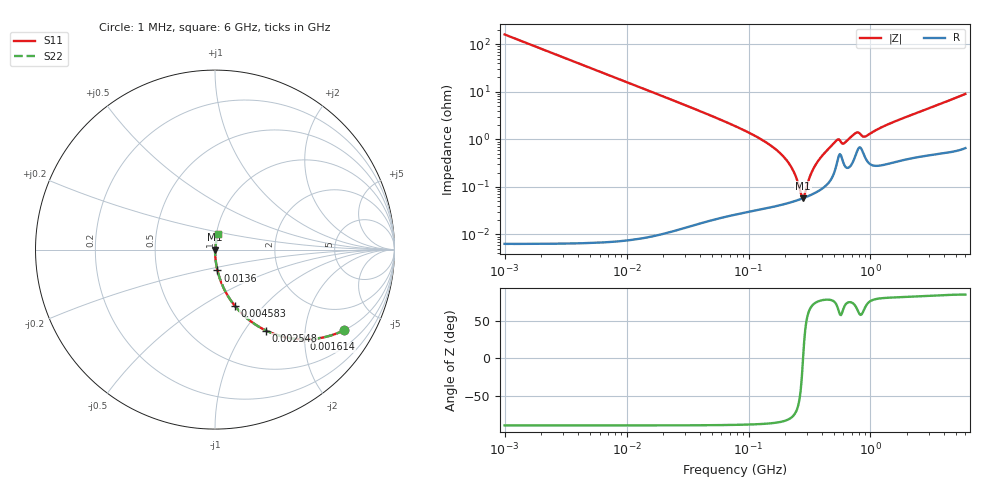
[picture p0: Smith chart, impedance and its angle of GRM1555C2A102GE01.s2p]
!Murata Part Number: GRM1555C2A102GE01
!These Parameters are Measured in Series Mode Connection
!Data Generated on Mar 30, 2021
!  o--ll--o
!Port1  Port2
!  o------o
!Operation Temp=25[degC], DC Bias Voltage=0[V]
!Freq. Start=1000[kHz] Stop=6[GHz] 401[Steps]
# Hz S RI R 50
!Freq.(Hz) S11(Real) S11(Imag) S21(Real) S21(Imag) S12(Real) S12(Imag) S22(Real) S22(Imag)
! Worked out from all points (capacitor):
!   401 points, 1 MHz to 6 GHz, reference 50 ohm
!   read as one part in series: C = 992 pF near 1.044 MHz
!   lowest |Z| = 57.6 mohm at 279.5 MHz (marker M1)
!   series resonance near 279.9 MHz, so ESL is about 330 pH
!   S11 on the Smith chart (normalised r, x): 1 MHz: 1.00, -3.21; 1.614 MHz: 1.00, -1.99; 2.548 MHz: 1.00, -1.26; 4.583 MHz: 1.00, -0.70; 13.6 MHz: 1.00, -0.24; 6 GHz: 1.01, +0.18
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1000000  0.7201 -0.4489  0.2799 0.4489  0.2799 0.4489  0.7201 -0.4489
1613609  0.497 -0.5  0.503 0.5  0.503 0.5  0.497 -0.5
2547717  0.2838 -0.4508  0.7162 0.4508  0.7162 0.4508  0.2838 -0.4508
4293785  0.1224 -0.3277  0.8776 0.3277  0.8776 0.3277  0.1224 -0.3277
4583281  0.1091 -0.3117  0.8909 0.3117  0.8909 0.3117  0.1091 -0.3117
1.359707e7  0.0137 -0.116  0.9863 0.116  0.9863 0.116  0.0137 -0.116
1.843659e7  0.00753 -0.0859  0.9925 0.0859  0.9925 0.0859  0.00753 -0.0859
7.745967e7  0.000622 -0.019  0.9994 0.019  0.9994 0.019  0.000622 -0.019
1.334167e8  0.000431 -0.00924  0.9996 0.00924  0.9996 0.00924  0.000431 -0.00924
1.889453e8  0.000444 -0.00461  0.9996 0.00461  0.9996 0.00461  0.000444 -0.00461
2.297971e8  0.000491 -0.00228  0.9995 0.00228  0.9995 0.00228  0.000491 -0.00228
2.675853e8  0.000553 -0.000517  0.9994 0.000517  0.9994 0.000517  0.000553 -0.000517
2.794814e8  0.000576 -1.6e-05  0.9994 1.6e-05  0.9994 1.6e-05  0.000576 -1.6e-05
2.919064e8  0.000602 0.000487  0.9994 -0.000487  0.9994 -0.000487  0.000602 0.000487
3.325952e8  0.0007 0.00202  0.9993 -0.00202  0.9993 -0.00202  0.0007 0.00202
3.872876e8  0.000878 0.00393  0.9991 -0.00393  0.9991 -0.00393  0.000878 0.00393
5.251325e8  0.00291 0.00894  0.9971 -0.00894  0.9971 -0.00894  0.00291 0.00894
6.11486e8  0.0029 0.00781  0.9971 -0.00781  0.9971 -0.00781  0.0029 0.00781
7.767579e8  0.00575 0.0126  0.9943 -0.0126  0.9943 -0.0126  0.00575 0.0126
9.044891e8  0.00424 0.0106  0.9958 -0.0106  0.9958 -0.0106  0.00424 0.0106
1.428092e9  0.00352 0.0209  0.9965 -0.0209  0.9965 -0.0209  0.00352 0.0209
6e9  0.0144 0.0881  0.9856 -0.0881  0.9856 -0.0881  0.0144 0.0881
